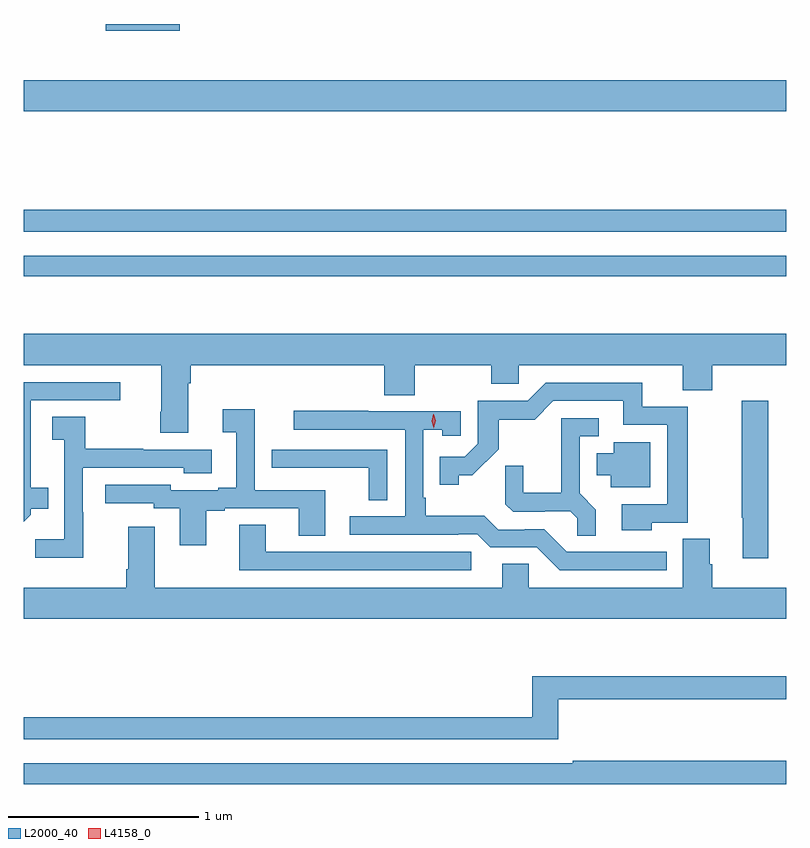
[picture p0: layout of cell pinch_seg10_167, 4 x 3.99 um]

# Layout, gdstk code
import gdstk
lib = gdstk.Library(unit=1e-6, precision=1e-09)
def R(c, l, rs):  # rectangles x0, y0, x1, y1
    for r in rs: c.add(gdstk.rectangle(r[:2], r[2:], *l))
def P(c, l, *ps):  # polygons
    for p in ps: c.add(gdstk.Polygon(p, *l))
L2000_40 = (2000, 40)
L4158_0 = (4158, 0)

pinch_seg10_167 = lib.new_cell('pinch_seg10_167')
R(pinch_seg10_167, L2000_40, [(670.401,1267.482,674.401,1267.59), (670.401,1267.716,674.401,1267.832), (670.401,1268.348,674.401,1268.512), (670.83,1268.771,671.218,1268.806)])
P(pinch_seg10_167, L2000_40, [(671.263,1266.92),(671.276,1266.92),(671.276,1267.016),(672.293,1267.016),(672.293,1266.859),(672.453,1266.859),(672.453,1267.016),(672.853,1267.016),(672.853,1266.918),(672.999,1266.918),(672.999,1267.016),(673.859,1267.016),(673.859,1266.883),(674.012,1266.883),(674.012,1267.016),(674.401,1267.016),(674.401,1267.18),(670.401,1267.18),(670.401,1267.016),(671.123,1267.016),(671.123,1266.772),(671.116,1266.772),(671.116,1266.66),(671.263,1266.66)],
  [(670.437,1266.231),(670.437,1266.263),(670.529,1266.263),(670.529,1266.373),(670.438,1266.373),(670.438,1266.831),(670.906,1266.831),(670.906,1266.927),(670.401,1266.927),(670.401,1266.195)],
  [(673.695,1266.189),(673.885,1266.189),(673.885,1266.798),(673.646,1266.798),(673.646,1266.924),(673.14,1266.924),(673.044,1266.828),(672.783,1266.828),(672.783,1266.603),(672.714,1266.534),(672.583,1266.534),(672.583,1266.387),(672.684,1266.387),(672.684,1266.437),(672.754,1266.437),(672.892,1266.574),(672.892,1266.73),(673.081,1266.73),(673.179,1266.828),(673.547,1266.828),(673.547,1266.702),(673.776,1266.702),(673.776,1266.285),(673.539,1266.285),(673.539,1266.149),(673.695,1266.149)],
  [(674.308,1266.829),(674.167,1266.829),(674.167,1266.215),(674.174,1266.215),(674.174,1266.003),(674.308,1266.003)],
  [(671.359,1266.252),(671.455,1266.252),(671.455,1266.264),(671.843,1266.264),(671.843,1266.121),(671.983,1266.121),(671.983,1266.36),(671.613,1266.36),(671.613,1266.784),(671.445,1266.784),(671.445,1266.664),(671.516,1266.664),(671.516,1266.373),(671.42,1266.373),(671.42,1266.36),(671.172,1266.36),(671.172,1266.387),(670.827,1266.387),(670.827,1266.291),(671.082,1266.291),(671.082,1266.264),(671.219,1266.264),(671.219,1266.072),(671.359,1266.072)],
  [(673.774,1266.036),(673.251,1266.036),(673.131,1266.156),(673.03,1266.156),(673.03,1266.153),(672.891,1266.153),(672.818,1266.226),(672.511,1266.226),(672.511,1266.319),(672.498,1266.319),(672.498,1266.677),(672.597,1266.677),(672.597,1266.645),(672.693,1266.645),(672.693,1266.774),(672.209,1266.774),(672.209,1266.777),(671.817,1266.777),(671.817,1266.678),(672.402,1266.678),(672.402,1266.222),(672.111,1266.222),(672.111,1266.126),(672.68,1266.126),(672.68,1266.129),(672.78,1266.129),(672.849,1266.06),(673.092,1266.06),(673.212,1265.94),(673.774,1265.94)],
  [(670.713,1266.245),(670.71,1266.245),(670.71,1266.477),(671.241,1266.477),(671.241,1266.449),(671.386,1266.449),(671.386,1266.573),(671.027,1266.573),(671.027,1266.576),(670.723,1266.576),(670.723,1266.746),(670.551,1266.746),(670.551,1266.625),(670.614,1266.625),(670.614,1266.103),(670.461,1266.103),(670.461,1266.005),(670.713,1266.005)],
  [(673.403,1266.257),(673.317,1266.343),(673.317,1266.642),(673.417,1266.642),(673.417,1266.738),(673.22,1266.738),(673.22,1266.346),(673.022,1266.346),(673.022,1266.489),(672.928,1266.489),(672.928,1266.287),(672.969,1266.246),(673.134,1266.246),(673.134,1266.249),(673.268,1266.249),(673.305,1266.212),(673.305,1266.121),(673.403,1266.121)],
  [(673.687,1266.61),(673.496,1266.61),(673.496,1266.553),(673.406,1266.553),(673.406,1266.437),(673.481,1266.437),(673.481,1266.374),(673.687,1266.374)],
  [(672.309,1266.573),(671.703,1266.573),(671.703,1266.478),(671.815,1266.478),(671.815,1266.477),(672.211,1266.477),(672.211,1266.307),(672.309,1266.307)],
  [(672.748,1266.036),(671.671,1266.036),(671.671,1266.179),(671.531,1266.179),(671.531,1265.94),(672.748,1265.94)],
  [(673.999,1265.97),(673.999,1266.104),(673.859,1266.104),(673.859,1265.848),(673.05,1265.848),(673.05,1265.975),(672.911,1265.975),(672.911,1265.848),(671.089,1265.848),(671.089,1266.169),(670.949,1266.169),(670.949,1265.944),(670.937,1265.944),(670.937,1265.848),(670.401,1265.848),(670.401,1265.684),(674.401,1265.684),(674.401,1265.848),(674.012,1265.848),(674.012,1265.97)],
  [(673.205,1265.262),(674.401,1265.262),(674.401,1265.383),(673.069,1265.383),(673.069,1265.168),(670.401,1265.168),(670.401,1265.052),(673.205,1265.052)],
  [(674.401,1264.939),(673.282,1264.939),(673.282,1264.926),(670.401,1264.926),(670.401,1264.818),(674.401,1264.818)])
P(pinch_seg10_167, L4158_0, [(672.553,1266.686),(672.553,1266.687),(672.542,1266.722),(672.55,1266.759),(672.55,1266.759),(672.551,1266.759),(672.562,1266.723),(672.553,1266.687)])

lib.write_gds('pinch_seg10_167.gds')
